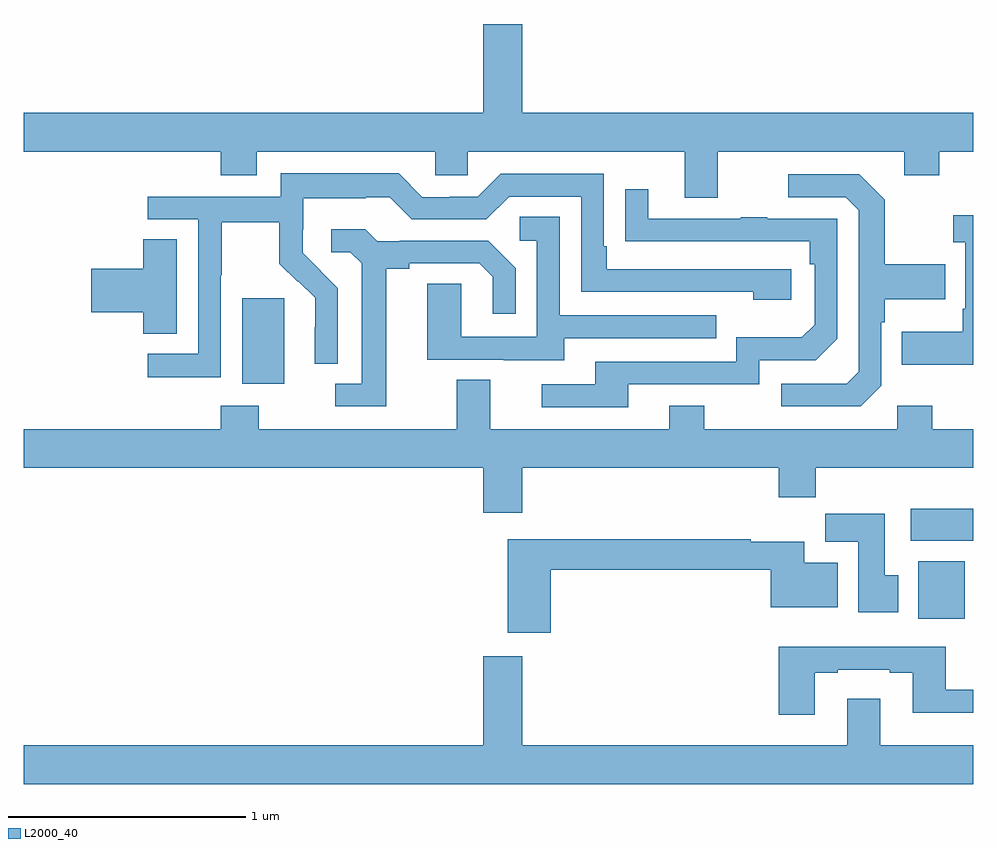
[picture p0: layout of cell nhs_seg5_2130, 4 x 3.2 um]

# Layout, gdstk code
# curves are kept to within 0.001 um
import gdstk
lib = gdstk.Library(unit=1e-6, precision=1e-09)
def R(c, l, rs):  # rectangles x0, y0, x1, y1
    for r in rs: c.add(gdstk.rectangle(r[:2], r[2:], *l))
def P(c, l, *ps):  # polygons
    for p in ps: c.add(gdstk.Polygon(p, *l))
L2000_40 = (2000, 40)

nhs_seg5_2130 = lib.new_cell('nhs_seg5_2130')
R(nhs_seg5_2130, L2000_40, [(238.769,872.108,238.966,872.35), (238.737,872.438,239,872.572), (235.919,873.098,236.098,873.459)])
P(nhs_seg5_2130, L2000_40, [(235,874.076),(235.829,874.076),(235.829,873.977),(235.981,873.977),(235.981,874.076),(236.733,874.076),(236.733,873.978),(236.871,873.978),(236.871,874.076),(237.785,874.076),(237.785,873.882),(237.925,873.882),(237.925,874.076),(238.709,874.076),(238.709,873.977),(238.857,873.977),(238.857,874.076),(239,874.076),(239,874.24),(237.1,874.24),(237.1,874.615),(236.936,874.615),(236.936,874.24),(235,874.24)],
  [(235.83,873.556),(235.833,873.556),(235.833,873.78),(236.077,873.78),(236.077,873.605),(236.154,873.528),(236.157,873.531),(236.228,873.461),(236.228,873.338),(236.226,873.338),(236.226,873.184),(236.322,873.184),(236.322,873.502),(236.176,873.65),(236.176,873.747),(236.178,873.747),(236.178,873.881),(236.441,873.881),(236.441,873.885),(236.541,873.885),(236.634,873.792),(236.949,873.792),(237.045,873.888),(237.348,873.888),(237.348,873.486),(238.073,873.486),(238.073,873.452),(238.234,873.452),(238.234,873.582),(237.457,873.582),(237.457,873.679),(237.444,873.679),(237.444,873.984),(237.009,873.984),(236.913,873.888),(236.795,873.888),(236.795,873.885),(236.679,873.885),(236.579,873.985),(236.082,873.985),(236.082,873.888),(235.521,873.888),(235.521,873.792),(235.734,873.792),(235.734,873.225),(235.521,873.225),(235.521,873.127),(235.83,873.127)],
  [(238.614,873.09),(238.614,873.359),(238.627,873.359),(238.627,873.455),(238.883,873.455),(238.883,873.603),(238.627,873.603),(238.627,873.875),(238.521,873.981),(238.221,873.981),(238.221,873.885),(238.464,873.885),(238.518,873.831),(238.518,873.15),(238.467,873.099),(238.191,873.099),(238.191,873.003),(238.527,873.003)],
  [(237.547,873.096),(238.098,873.096),(238.098,873.198),(238.338,873.198),(238.428,873.288),(238.428,873.795),(238.133,873.795),(238.133,873.8),(238.021,873.8),(238.021,873.795),(237.631,873.795),(237.631,873.919),(237.535,873.919),(237.535,873.7),(238.312,873.699),(238.312,873.602),(238.332,873.602),(238.332,873.348),(238.279,873.295),(238.002,873.295),(238.002,873.192),(237.407,873.192),(237.407,873.096),(237.183,873.096),(237.183,873),(237.547,873)],
  [(239,873.808),(238.917,873.808),(238.917,873.695),(238.968,873.695),(238.968,873.415),(238.956,873.415),(238.956,873.319),(238.699,873.319),(238.699,873.179),(239,873.179)],
  [(237.277,873.291),(237.917,873.291),(237.917,873.387),(237.258,873.387),(237.258,873.803),(237.09,873.803),(237.09,873.702),(237.162,873.702),(237.162,873.297),(236.844,873.297),(236.844,873.521),(236.699,873.521),(236.699,873.201),(237.023,873.201),(237.023,873.197),(237.277,873.197)],
  [(236.527,873.584),(236.623,873.584),(236.623,873.606),(236.918,873.606),(236.975,873.549),(236.975,873.393),(237.072,873.393),(237.072,873.586),(236.956,873.702),(236.584,873.702),(236.584,873.699),(236.49,873.699),(236.438,873.751),(236.295,873.751),(236.295,873.654),(236.376,873.654),(236.423,873.607),(236.423,873.099),(236.313,873.099),(236.313,873.003),(236.527,873.003)],
  [(235.645,873.707),(235.502,873.707),(235.502,873.584),(235.284,873.584),(235.284,873.401),(235.502,873.401),(235.502,873.31),(235.645,873.31)],
  [(237.1,872.744),(238.181,872.744),(238.181,872.62),(238.337,872.62),(238.337,872.744),(239,872.744),(239,872.908),(238.827,872.908),(238.827,873.007),(238.68,873.007),(238.68,872.908),(237.867,872.908),(237.867,873.007),(237.719,873.007),(237.719,872.908),(236.965,872.908),(236.965,873.116),(236.825,873.116),(236.825,872.908),(235.989,872.908),(235.989,873.007),(235.829,873.007),(235.829,872.908),(235,872.908),(235,872.744),(236.936,872.744),(236.936,872.556),(237.1,872.556)],
  [(238.684,872.292),(238.627,872.292),(238.627,872.551),(238.378,872.551),(238.378,872.432),(238.517,872.432),(238.517,872.136),(238.684,872.136)],
  [(237.221,872.314),(238.148,872.314),(238.148,872.156),(238.429,872.156),(238.429,872.344),(238.288,872.344),(238.288,872.432),(238.064,872.432),(238.064,872.443),(237.038,872.443),(237.038,872.049),(237.221,872.049)],
  [(238.333,871.881),(238.429,871.881),(238.429,871.893),(238.649,871.893),(238.649,871.881),(238.745,871.881),(238.745,871.712),(239,871.712),(239,871.809),(238.885,871.809),(238.885,871.99),(238.181,871.99),(238.181,871.704),(238.333,871.704)],
  [(239,871.576),(238.609,871.576),(238.609,871.771),(238.469,871.771),(238.469,871.576),(237.1,871.576),(237.1,871.951),(236.936,871.951),(236.936,871.576),(235,871.576),(235,871.412),(239,871.412)])

lib.write_gds('nhs_seg5_2130.gds')
